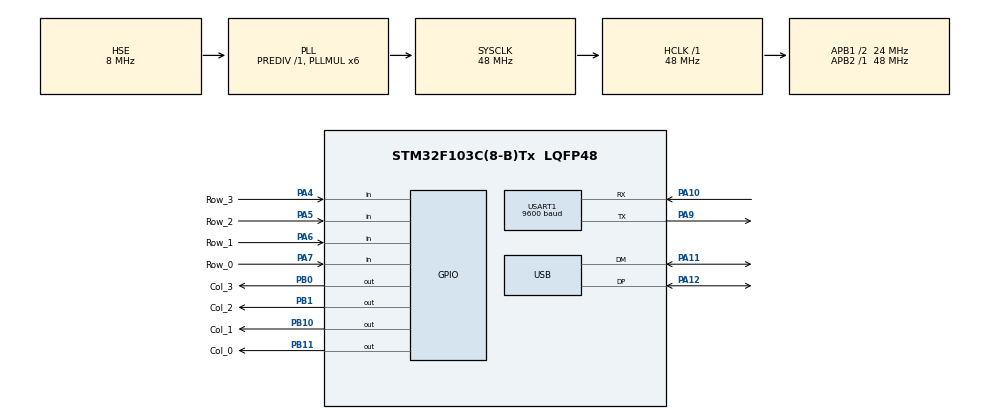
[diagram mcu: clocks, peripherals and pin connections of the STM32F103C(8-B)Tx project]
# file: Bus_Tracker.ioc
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Mcu.Family=STM32F1
Mcu.Name=STM32F103C(8-B)Tx
Mcu.Package=LQFP48
NVIC.PriorityGroup=NVIC_PRIORITYGROUP_4
NVIC.USART1_IRQn=true\:0\:0\:false\:false\:true\:true\:true\:true
NVIC.USB_LP_CAN1_RX0_IRQn=true\:0\:0\:false\:false\:true\:false\:true\:true
PA10.Mode=Asynchronous
PA10.Signal=USART1_RX
PA11.Mode=Device
PA11.Signal=USB_DM
PA12.Mode=Device
PA12.Signal=USB_DP
PA13.Mode=Serial_Wire
PA13.Signal=SYS_JTMS-SWDIO
PA14.Mode=Serial_Wire
PA14.Signal=SYS_JTCK-SWCLK
PA4.GPIO_Label=Row_3
PA4.GPIO_PuPd=GPIO_PULLDOWN
PA4.Signal=GPIO_Input
PA5.GPIO_Label=Row_2
PA5.GPIO_PuPd=GPIO_PULLDOWN
PA5.Signal=GPIO_Input
PA6.GPIO_Label=Row_1
PA6.GPIO_PuPd=GPIO_PULLDOWN
PA6.Signal=GPIO_Input
PA7.GPIO_Label=Row_0
PA7.GPIO_PuPd=GPIO_PULLDOWN
PA7.Signal=GPIO_Input
PA9.Mode=Asynchronous
PA9.Signal=USART1_TX
PB0.GPIO_Label=Col_3
PB0.GPIO_PuPd=GPIO_NOPULL
PB0.Signal=GPIO_Output
PB1.GPIO_Label=Col_2
PB1.GPIO_PuPd=GPIO_NOPULL
PB1.Signal=GPIO_Output
PB10.GPIO_Label=Col_1
PB10.GPIO_PuPd=GPIO_NOPULL
PB10.Signal=GPIO_Output
PB11.GPIO_Label=Col_0
PB11.GPIO_PuPd=GPIO_NOPULL
PB11.Signal=GPIO_Output
PD0-OSC_IN.Mode=HSE-External-Oscillator
PD0-OSC_IN.Signal=RCC_OSC_IN
PD1-OSC_OUT.Mode=HSE-External-Oscillator
PD1-OSC_OUT.Signal=RCC_OSC_OUT
ProjectManager.HeapSize=0x200
ProjectManager.StackSize=0x400
ProjectManager.TargetToolchain=STM32CubeIDE
RCC.AHBFreq_Value=48000000
RCC.APB1CLKDivider=RCC_HCLK_DIV2
RCC.APB1Freq_Value=24000000
RCC.APB1TimFreq_Value=48000000
RCC.APB2Freq_Value=48000000
RCC.APB2TimFreq_Value=48000000
RCC.HCLKFreq_Value=48000000
RCC.PLLMUL=RCC_PLL_MUL6
RCC.PLLSourceVirtual=RCC_PLLSOURCE_HSE
RCC.SYSCLKFreq_VALUE=48000000
RCC.SYSCLKSource=RCC_SYSCLKSOURCE_PLLCLK
RCC.USBFreq_Value=48000000
USART1.BaudRate=9600
USART1.VirtualMode=VM_ASYNC
USB_DEVICE.CLASS_NAME_FS=CDC
USB_DEVICE.VirtualMode=Cdc
USB_DEVICE.VirtualModeFS=Cdc_FS
VP_TIM1_VS_ClockSourceINT.Mode=Internal
VP_USB_DEVICE_VS_USB_DEVICE_CDC_FS.Mode=CDC_FS
board=custom

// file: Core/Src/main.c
/* USER CODE BEGIN Header */
/**
  ******************************************************************************
  * @file           : main.c
  * @brief          : Main program body
  ******************************************************************************
  * @attention
  *
  * Copyright (c) 2025 STMicroelectronics.
  * All rights reserved.
  *
  * This software is licensed under terms that can be found in the LICENSE file
  * in the root directory of this software component.
  * If no LICENSE file comes with this software, it is provided AS-IS.
  *
  ******************************************************************************
  */
/* USER CODE END Header */
#include "main.h"
#include "usb_device.h"

/* USER CODE BEGIN Includes */
#include <string.h>/*----------------------------------------------------------------gps*/
#include <stdio.h>/*-----------------------------------------------------------------gps*/

#include "../../ECUAL/KEYPAD/KEYPAD.h"

#define KEY_1       0
#define KEY_2       1
#define KEY_3       2
#define KEY_F1      3
#define KEY_4       4
#define KEY_5       5
#define KEY_6       6
#define KEY_F2      7
#define KEY_7       8
#define KEY_8       9
#define KEY_9       10
#define KEY_F3      11
#define KEY_A       12
#define KEY_0       13
#define KEY_H       14
#define KEY_F4      15

uint8_t gu8_KeyStatesArr[KEYS] = {0};
uint8_t SysTicks = 0;

void SysTick_CallBack(void);
void Display_Handler(void);

/* USER CODE END Includes */

TIM_HandleTypeDef htim1;

UART_HandleTypeDef huart1;

/* USER CODE BEGIN PV */
//uint8_t TxBuffer[] = "Hello World! From STM32 USB CDC Device To Virtual COM Port\r\n";
//uint8_t TxBufferLen = sizeof(TxBuffer);

/* USER CODE END PV */

void SystemClock_Config(void);
static void MX_GPIO_Init(void);
static void MX_USART1_UART_Init(void);
static void MX_TIM1_Init(void);
/* USER CODE BEGIN PFP */
void SysTick_CallBack(void);//Keypad
void Display_Handler(void);//Keypad
/* USER CODE END PFP */

/* USER CODE BEGIN 0 */

/*---------------------------------------gps handle------------------------------------------*/
uint8_t rxBuffer[128] = {0};
uint8_t rxIndex = 0;
uint8_t rxData;
float nmeaLong;
float nmeaLat;
float utcTime;
char northsouth;
char eastwest;
char posStatus;
float decimalLong;
float decimalLat;

float nmeaToDecimal(float coordinate) {
    int degree = (int)(coordinate/100);
    float minutes = coordinate - degree * 100;
    float decimalDegree = minutes / 60;
    float decimal = degree + decimalDegree;
    return decimal;
}

void gpsParse(char *strParse){
  if(!strncmp(strParse, "$GPGGA", 6)){
    sscanf(strParse, "$GPGGA,%f,%f,%c,%f,%c",
      &utcTime, &nmeaLat, &northsouth, &nmeaLong, &eastwest);
    decimalLat = nmeaToDecimal(nmeaLat);
    decimalLong = nmeaToDecimal(nmeaLong);
  }
  else if (!strncmp(strParse, "$GPGLL", 6)){
    sscanf(strParse, "$GPGLL,%f,%c,%f,%c,%f",
      &nmeaLat, &northsouth, &nmeaLong, &eastwest, &utcTime);
    decimalLat = nmeaToDecimal(nmeaLat);
    decimalLong = nmeaToDecimal(nmeaLong);
  }
  else if (!strncmp(strParse, "$GPRMC", 6)){
    sscanf(strParse, "$GPRMC,%f,%c,%f,%c,%f,%c",
      &utcTime, &posStatus, &nmeaLat, &northsouth, &nmeaLong, &eastwest);
    decimalLat = nmeaToDecimal(nmeaLat);
    decimalLong = nmeaToDecimal(nmeaLong);
  }
}

int gpsValidate(char *nmea){
    char check[3];
    char calculatedString[3];
    int index;
    int calculatedCheck;

    index=0;
    calculatedCheck=0;

    // Ensure that the string starts with a "$"
    if(nmea[index] == '$')
        index++;
    else
        return 0;

    //No NULL reached, 75 char largest possible NMEA message, no '*' reached
    while((nmea[index] != 0) && (nmea[index] != '*') && (index < 75)){
        calculatedCheck ^= nmea[index];// calculate the checksum
        index++;
    }

    if(index >= 75){
        return 0;// the string is too long so return an error
    }

    if (nmea[index] == '*'){
        check[0] = nmea[index+1];    //put hex chars in check string
        check[1] = nmea[index+2];
        check[2] = 0;
    }
    else
        return 0;// no checksum separator found therefore invalid data

    sprintf(calculatedString,"%02X",calculatedCheck);
    return((calculatedString[0] == check[0])
        && (calculatedString[1] == check[1])) ? 1 : 0 ;
}

void HAL_UART_RxCpltCallback(UART_HandleTypeDef *huart)
{
  if(huart->Instance==USART1)
  {
    // if the character received is other than 'enter' ascii13, save the data in buffer
    if(rxData!='\n' && rxIndex < sizeof(rxBuffer))
    {
      rxBuffer[rxIndex++]=rxData;
    }
    else
    {
      if(gpsValidate((char*) rxBuffer)) gpsParse((char*) rxBuffer);
      rxIndex=0;
      memset(rxBuffer,0,sizeof(rxBuffer));
    }
    HAL_UART_Receive_IT(&huart1,&rxData,1); // Enabling interrupt receive again
  }
}
/*--------------------------------------------end gps handle--------------------------------------*/

/* USER CODE END 0 */

int main(void)
{

  /* MCU Configuration--------------------------------------------------------*/

  /* Reset of all peripherals, Initializes the Flash interface and the Systick. */
  HAL_Init();

  /* Configure the system clock */
  SystemClock_Config();

  /* Initialize all configured peripherals */
  MX_GPIO_Init();
  MX_USART1_UART_Init();
  MX_USB_DEVICE_Init();
  MX_TIM1_Init();
  /* USER CODE BEGIN 2 */
  HAL_UART_Receive_IT(&huart1,&rxData,1);
  KEYPAD_Init(0, gu8_KeyStatesArr);
  /* USER CODE END 2 */

  /* Infinite loop */
  while (1)
  {

    /* USER CODE BEGIN 3 */
	    char TxBuffer_gps[64];  // Buffer for transmission
	    int TxBufferLen_gps;

	    // Convert floats to a formatted string (e.g., "12.34,56.78\n")
	    TxBufferLen_gps = snprintf(TxBuffer_gps, sizeof(TxBuffer_gps), "%.5d,%.5f\n", SysTicks /*decimalLong*/, decimalLat);

	    // Transmit via USB CDC
	    CDC_Transmit_FS((uint8_t*)TxBuffer_gps, TxBufferLen_gps);

	    //SysTick_CallBack();

	    Display_Handler();
	    HAL_Delay(100);
  }
  /* USER CODE END 3 */
}

void SystemClock_Config(void)
{
  RCC_OscInitTypeDef RCC_OscInitStruct = {0};
  RCC_ClkInitTypeDef RCC_ClkInitStruct = {0};
  RCC_PeriphCLKInitTypeDef PeriphClkInit = {0};

  /** Initializes the RCC Oscillators according to the specified parameters
  * in the RCC_OscInitTypeDef structure.
  */
  RCC_OscInitStruct.OscillatorType = RCC_OSCILLATORTYPE_HSE;
  RCC_OscInitStruct.HSEState = RCC_HSE_ON;
  RCC_OscInitStruct.HSEPredivValue = RCC_HSE_PREDIV_DIV1;
  RCC_OscInitStruct.HSIState = RCC_HSI_ON;
  RCC_OscInitStruct.PLL.PLLState = RCC_PLL_ON;
  RCC_OscInitStruct.PLL.PLLSource = RCC_PLLSOURCE_HSE;
  RCC_OscInitStruct.PLL.PLLMUL = RCC_PLL_MUL6;
  if (HAL_RCC_OscConfig(&RCC_OscInitStruct) != HAL_OK)
  {
    Error_Handler();
  }

  /** Initializes the CPU, AHB and APB buses clocks
  */
  RCC_ClkInitStruct.ClockType = RCC_CLOCKTYPE_HCLK|RCC_CLOCKTYPE_SYSCLK
                              |RCC_CLOCKTYPE_PCLK1|RCC_CLOCKTYPE_PCLK2;
  RCC_ClkInitStruct.SYSCLKSource = RCC_SYSCLKSOURCE_PLLCLK;
  RCC_ClkInitStruct.AHBCLKDivider = RCC_SYSCLK_DIV1;
  RCC_ClkInitStruct.APB1CLKDivider = RCC_HCLK_DIV2;
  RCC_ClkInitStruct.APB2CLKDivider = RCC_HCLK_DIV1;

  if (HAL_RCC_ClockConfig(&RCC_ClkInitStruct, FLASH_LATENCY_1) != HAL_OK)
  {
    Error_Handler();
  }
  PeriphClkInit.PeriphClockSelection = RCC_PERIPHCLK_USB;
  PeriphClkInit.UsbClockSelection = RCC_USBCLKSOURCE_PLL;
  if (HAL_RCCEx_PeriphCLKConfig(&PeriphClkInit) != HAL_OK)
  {
    Error_Handler();
  }
}

static void MX_TIM1_Init(void)
{

  TIM_ClockConfigTypeDef sClockSourceConfig = {0};
  TIM_MasterConfigTypeDef sMasterConfig = {0};

  htim1.Instance = TIM1;
  htim1.Init.Prescaler = 0;
  htim1.Init.CounterMode = TIM_COUNTERMODE_UP;
  htim1.Init.Period = 65535;
  htim1.Init.ClockDivision = TIM_CLOCKDIVISION_DIV1;
  htim1.Init.RepetitionCounter = 0;
  htim1.Init.AutoReloadPreload = TIM_AUTORELOAD_PRELOAD_DISABLE;
  if (HAL_TIM_Base_Init(&htim1) != HAL_OK)
  {
    Error_Handler();
  }
  sClockSourceConfig.ClockSource = TIM_CLOCKSOURCE_INTERNAL;
  if (HAL_TIM_ConfigClockSource(&htim1, &sClockSourceConfig) != HAL_OK)
  {
    Error_Handler();
  }
  sMasterConfig.MasterOutputTrigger = TIM_TRGO_RESET;
  sMasterConfig.MasterSlaveMode = TIM_MASTERSLAVEMODE_DISABLE;
  if (HAL_TIMEx_MasterConfigSynchronization(&htim1, &sMasterConfig) != HAL_OK)
  {
    Error_Handler();
  }

}

static void MX_USART1_UART_Init(void)
{

  huart1.Instance = USART1;
  huart1.Init.BaudRate = 9600;
  huart1.Init.WordLength = UART_WORDLENGTH_8B;
  huart1.Init.StopBits = UART_STOPBITS_1;
  huart1.Init.Parity = UART_PARITY_NONE;
  huart1.Init.Mode = UART_MODE_TX_RX;
  huart1.Init.HwFlowCtl = UART_HWCONTROL_NONE;
  huart1.Init.OverSampling = UART_OVERSAMPLING_16;
  if (HAL_UART_Init(&huart1) != HAL_OK)
  {
    Error_Handler();
  }

}

static void MX_GPIO_Init(void)
{
  GPIO_InitTypeDef GPIO_InitStruct = {0};

  /* GPIO Ports Clock Enable */
  __HAL_RCC_GPIOD_CLK_ENABLE();
  __HAL_RCC_GPIOA_CLK_ENABLE();
  __HAL_RCC_GPIOB_CLK_ENABLE();

  /*Configure GPIO pin Output Level */
  HAL_GPIO_WritePin(GPIOB, Col_3_Pin|Col_2_Pin|Col_1_Pin|Col_0_Pin, GPIO_PIN_RESET);

  /*Configure GPIO pins : Row_3_Pin Row_2_Pin Row_1_Pin Row_0_Pin */
  GPIO_InitStruct.Pin = Row_3_Pin|Row_2_Pin|Row_1_Pin|Row_0_Pin;
  GPIO_InitStruct.Mode = GPIO_MODE_INPUT;
  GPIO_InitStruct.Pull = GPIO_PULLDOWN;
  HAL_GPIO_Init(GPIOA, &GPIO_InitStruct);

  /*Configure GPIO pins : Col_3_Pin Col_2_Pin Col_1_Pin Col_0_Pin */
  GPIO_InitStruct.Pin = Col_3_Pin|Col_2_Pin|Col_1_Pin|Col_0_Pin;
  GPIO_InitStruct.Mode = GPIO_MODE_OUTPUT_PP;
  GPIO_InitStruct.Pull = GPIO_NOPULL;
  GPIO_InitStruct.Speed = GPIO_SPEED_FREQ_LOW;
  HAL_GPIO_Init(GPIOB, &GPIO_InitStruct);

}

/* USER CODE BEGIN 4 */

void SysTick_CallBack(void)
{
    SysTicks++;
    if(SysTicks == 5) // Each 5msec
    {
    KEYPAD_Scan(0);
    SysTicks = 0;
    }
}

void Display_Handler(void)
{
    if(gu8_KeyStatesArr[KEY_1] == KEY_PRESSED)
    {
    //LCD_Write_Char('1');
    int a;
    while(gu8_KeyStatesArr[KEY_1] == KEY_PRESSED);
    }
    if(gu8_KeyStatesArr[KEY_2] == KEY_PRESSED)
    {
    //LCD_Write_Char('2');
    int a;
    while(gu8_KeyStatesArr[KEY_2] == KEY_PRESSED);
    }
    if(gu8_KeyStatesArr[KEY_3] == KEY_PRESSED)
    {
    //LCD_Write_Char('3');
    int a;
    while(gu8_KeyStatesArr[KEY_3] == KEY_PRESSED);
    }
    if(gu8_KeyStatesArr[KEY_4] == KEY_PRESSED)
    {
    //LCD_Write_Char('4');
    int a;
    while(gu8_KeyStatesArr[KEY_4] == KEY_PRESSED);
    }
    if(gu8_KeyStatesArr[KEY_5] == KEY_PRESSED)
    {
    //LCD_Write_Char('5');
    int a;
    while(gu8_KeyStatesArr[KEY_5] == KEY_PRESSED);
    }
    if(gu8_KeyStatesArr[KEY_6] == KEY_PRESSED)
    {
    //LCD_Write_Char('6');
    int a;
    while(gu8_KeyStatesArr[KEY_6] == KEY_PRESSED);
    }
    if(gu8_KeyStatesArr[KEY_7] == KEY_PRESSED)
    {
    //LCD_Write_Char('7');
    	int a;
    while(gu8_KeyStatesArr[KEY_7] == KEY_PRESSED);
    }
    if(gu8_KeyStatesArr[KEY_8] == KEY_PRESSED)
    {
    //LCD_Write_Char('8');
    	int a;
    while(gu8_KeyStatesArr[KEY_8] == KEY_PRESSED);
    }
    if(gu8_KeyStatesArr[KEY_9] == KEY_PRESSED)
    {
    //LCD_Write_Char('9');
    	int a;
    while(gu8_KeyStatesArr[KEY_9] == KEY_PRESSED);
    }
    if(gu8_KeyStatesArr[KEY_0] == KEY_PRESSED)
    {
    //LCD_Write_Char('0');
    	int a;
    while(gu8_KeyStatesArr[KEY_0] == KEY_PRESSED);
    }
    if(gu8_KeyStatesArr[KEY_A] == KEY_PRESSED)
    {
    //LCD_Write_Char('*');
    	int a;
    while(gu8_KeyStatesArr[KEY_A] == KEY_PRESSED);
    }
    if(gu8_KeyStatesArr[KEY_H] == KEY_PRESSED)
    {
    //LCD_Write_Char('#');
    	int a;
    while(gu8_KeyStatesArr[KEY_H] == KEY_PRESSED);
    }
    if(gu8_KeyStatesArr[KEY_F1] == KEY_PRESSED)
    {
    //LCD_SR();
    	int a;
    while(gu8_KeyStatesArr[KEY_F1] == KEY_PRESSED);
    }
    if(gu8_KeyStatesArr[KEY_F2] == KEY_PRESSED)
    {
    //LCD_SL();
    	int a;
    while(gu8_KeyStatesArr[KEY_F2] == KEY_PRESSED);
    }
    if(gu8_KeyStatesArr[KEY_F4] == KEY_PRESSED)
    {
    //LCD_Clear();
    	int a;
    while(gu8_KeyStatesArr[KEY_F4] == KEY_PRESSED);
    }
}

/* USER CODE END 4 */

void Error_Handler(void)
{
  __disable_irq();
  while (1)
  {
  }
}
